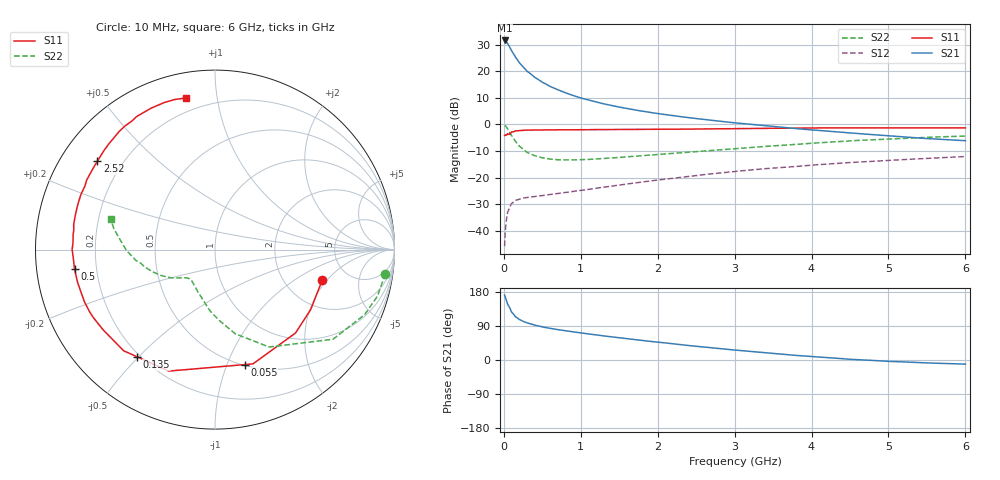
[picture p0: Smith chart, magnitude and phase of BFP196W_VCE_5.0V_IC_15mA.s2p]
! Infineon Technologies  Discrete & RF Semiconductors
! BFP196W
! VCE = 5.0 V,  IC =  15mA
! Common Emitter S-Parameters:  Jan 2016
# GHz  S  MA  R  50
!  f  S11  S21  S12  S22
! GHz  MAG  ANG  MAG  ANG  MAG  ANG  MAG  ANG
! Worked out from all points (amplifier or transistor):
!   210 points, 10 MHz to 6 GHz, reference 50 ohm
!   highest |S21| = 31.5 dB at 10 MHz (marker M1)
!   |S21| within 3 dB of that: start of sweep to 84.41 MHz
!   unconditionally stable (mu >= 1): 987.2 MHz to 3.315 GHz
!   at 185 MHz: K = 0.27, MSG = 26.0 dB, |S12| = -28.2 dB
!   at 1.52 GHz: K = 1.13, MAG = 12.4 dB, |S12| = -22.7 dB
!   at 6 GHz: K = 0.94, MSG = 3.0 dB, |S12| = -12.1 dB
!   S11 on the Smith chart (normalised r, x): 10 MHz: 3.22, -1.78; 55 MHz: 0.51, -1.16; 135 MHz: 0.19, -0.50; 500 MHz: 0.12, -0.07; 2.52 GHz: 0.11, +0.33; 6 GHz: 0.13, +0.82
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0.01  0.6213 -15.9  37.69 171.2  0.0052 81.8  0.9588 -8.1
0.02  0.6292 -32.1  37.65 165.6  0.0105 77.1  0.9411 -16.1
0.03  0.6459 -46.0  36.41 159.1  0.0149 70.3  0.9092 -23.5
0.05  0.6708 -71.6  33.06 146.8  0.0227 60.5  0.8259 -37.2
0.055  0.6614 -75.6  32.05 145.3  0.0236 58.1  0.8005 -39.0
0.1  0.7241 -110.8  24.37 126.6  0.0329 43.3  0.6206 -61.0
0.135  0.7382 -126.0  20.14 118.7  0.036 37.3  0.5197 -70.9
0.15  0.7594 -132.1  18.48 114.3  0.0374 35.1  0.4827 -76.4
0.2  0.767 -144.4  14.49 107.0  0.0396 31.4  0.3938 -86.8
0.26  0.7799 -153.5  11.58 101.1  0.0418 29.2  0.3341 -95.9
0.3  0.7834 -158.3  10.06 97.9  0.0425 29.0  0.3005 -100.9
0.4  0.7871 -166.5  7.681 91.9  0.0445 28.7  0.2597 -110.4
0.5  0.7901 -172.0  6.203 87.3  0.0462 30.3  0.2365 -117.4
0.7  0.7961 -180.0  4.487 80.2  0.0505 34.2  0.2175 -125.8
1.02  0.7955 171.6  3.085 71.0  0.0582 40.2  0.2185 -133.3
1.4  0.8032 163.4  2.268 61.0  0.0697 45.2  0.235 -138.0
2.02  0.813 151.7  1.589 46.7  0.0913 49.5  0.2738 -144.7
2.52  0.8199 143.1  1.281 35.8  0.1111 49.9  0.312 -151.0
3.1  0.8369 133.6  1.041 24.5  0.1354 48.2  0.3605 -159.1
4.1  0.8604 119.3  0.771 7.8  0.1765 42.6  0.4536 -173.7
5.1  0.8663 108.3  0.597 -4.3  0.2153 35.5  0.5417 172.6
6  0.8601 100.8  0.496 -10.9  0.2497 29.3  0.6052 163.7
